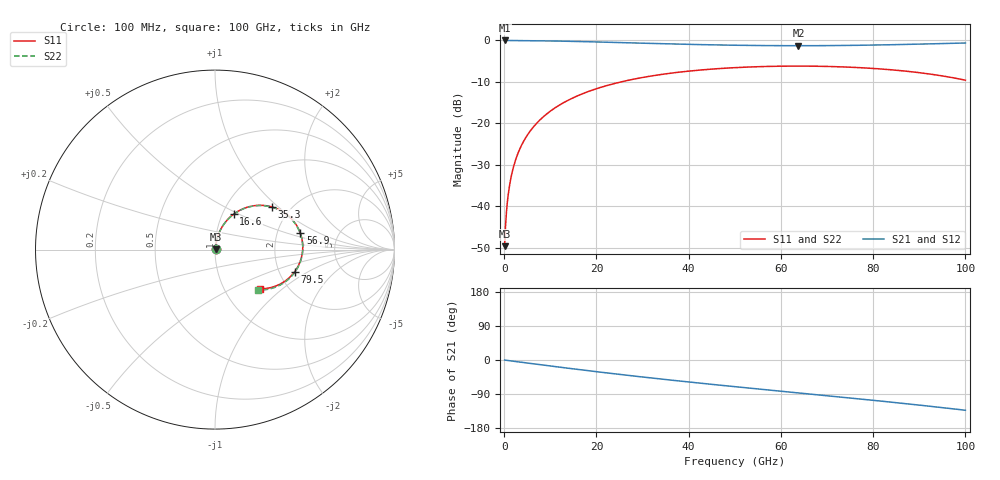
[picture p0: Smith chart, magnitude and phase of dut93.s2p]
! Touchstone file exported from HFSS 2026.1.0
!  File:  C:/ffzhzh/LocalFiles/Ansys_Project_Files/temp_train_RDL_93_1783498976_55944.aedt
!  Generated:  04:24:05 PM Jul  8, 2026
!  Design:  RDL
!  Project:  temp_train_RDL_93_1783498976_55944
! Variables:
!  h_bsmrdl = 2um
!  h_ox = 20um
!  h_rdl = 5um
!  h_sub = 80um
!  h_tmrdl = 2.25um
!  h_tsv = 80um
!  h_via = 3um
!  l_bsmrdl = 300um
!  l_sub = 839.54um
!  l_tmrdl = 439.54um
!  m_sub = 200um
!  pitch = 49.94um
!  r_tsv = 6um
!  s_tmrdl = 10um
!  w_bsmrdl = 18um
!  w_sub = 500um
!  w_tmrdl = 27.79um
!  x_tsv_center1 = 453.435um
!  x_tsv_center2 = 771.435um
!  x_tsv_center3 = 1238.765um
!  x_tsv_center4 = 1556.765um
!  x_tsv_center5 = 2024.095um
!  x_tsv_center6 = 2342.095um
# GHz S MA R 50.000000
! Terminal data exported
! Port[1] = TM_RDL1_1_T1
! Port[2] = TM_RDL1_1_T2
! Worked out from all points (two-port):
!   1000 points, 100 MHz to 100 GHz, reference 50 ohm
!   highest |S21| = -0.02 dB at 100 MHz (marker M1); lowest = -1.3 dB at 63.8 GHz (marker M2)
!   |S21| within 3 dB of the highest: start of sweep to end of sweep
!   lowest |S11| = -49.7 dB at 100 MHz (marker M3), VSWR 1.01, Z = 50.3 + j0.167 ohm
!   |S11| at or under -10 dB: start of sweep to 25.44 GHz
!   |S22| runs from -49.7 to -6.2 dB; largest |S21 - S12| = 1.7e-14
!   S11 on the Smith chart (normalised r, x): 100 MHz: 1.01, +0.00; 16.6 GHz: 1.13, +0.47; 35.3 GHz: 1.61, +0.91; 56.9 GHz: 2.70, +0.64; 79.5 GHz: 2.42, -0.76; 100 GHz: 1.45, -0.71
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0.1  0.00329 30.2  0.9972 -0.2  0.9972 -0.2  0.00329 30.2
! Gamma 0 0 0 0
! Port Impedance 50 0 50 0
0.9  0.01399 73.1  0.9962 -1.5  0.9962 -1.5  0.01399 73.1
1.2  0.01813 75.8  0.996 -1.9  0.996 -1.9  0.01813 75.8
1.6  0.02371 77.8  0.9957 -2.6  0.9957 -2.6  0.02371 77.8
2.7  0.03919 79.6  0.9951 -4.3  0.9951 -4.3  0.03919 79.5
4.2  0.06033 79.1  0.9937 -6.7  0.9937 -6.7  0.06033 79.1
6.3  0.08963 76.9  0.9911 -10.0  0.9911 -10.0  0.08963 76.8
9.1  0.1278 73.2  0.9862 -14.4  0.9862 -14.4  0.1278 73.1
12.5  0.1722 68.3  0.9785 -19.6  0.9785 -19.6  0.1722 68.1
16.6  0.2224 62.3  0.9674 -25.8  0.9674 -25.8  0.2224 62.2
16.8  0.2247 62.0  0.9668 -26.1  0.9668 -26.1  0.2247 61.9
24.2  0.3043 51.6  0.9435 -36.8  0.9435 -36.8  0.3043 51.4
33.4  0.3829 39.4  0.9139 -49.4  0.9139 -49.4  0.3829 39.0
35.3  0.3963 36.9  0.9081 -51.9  0.9081 -51.9  0.3963 36.6
50.1  0.4688 18.7  0.873 -70.5  0.873 -70.5  0.4688 18.2
56.9  0.4843 10.8  0.8645 -78.7  0.8645 -78.7  0.4844 10.2
63.8  0.4893 2.8  0.8617 -86.8  0.8617 -86.8  0.4894 2.1
66.7  0.4882 -0.6  0.8622 -90.3  0.8622 -90.3  0.4883 -1.3
79.5  0.4603 -15.6  0.8765 -105.7  0.8765 -105.7  0.4604 -16.6
83.4  0.444 -20.3  0.8844 -110.6  0.8844 -110.6  0.444 -21.4
91.8  0.3957 -30.8  0.9056 -121.4  0.9056 -121.4  0.3957 -32.0
100  0.3307 -41.4  0.9294 -132.6  0.9294 -132.6  0.3308 -42.9
